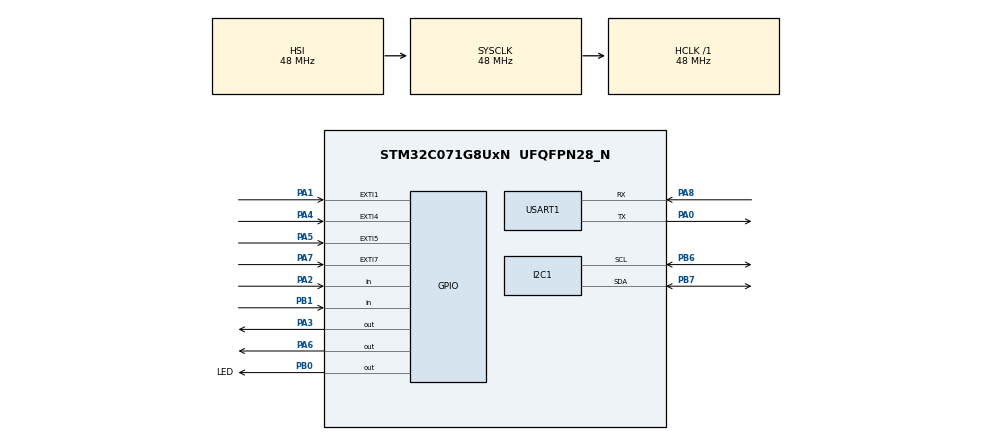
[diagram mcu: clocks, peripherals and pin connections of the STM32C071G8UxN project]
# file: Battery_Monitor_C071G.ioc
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Dma.Request0=USART1_RX
Dma.USART1_RX.0.Direction=DMA_PERIPH_TO_MEMORY
Dma.USART1_RX.0.EventEnable=DISABLE
Dma.USART1_RX.0.Instance=DMA1_Channel1
Dma.USART1_RX.0.MemDataAlignment=DMA_MDATAALIGN_BYTE
Dma.USART1_RX.0.MemInc=DMA_MINC_ENABLE
Dma.USART1_RX.0.Mode=DMA_NORMAL
Dma.USART1_RX.0.PeriphDataAlignment=DMA_PDATAALIGN_BYTE
Dma.USART1_RX.0.PeriphInc=DMA_PINC_DISABLE
Dma.USART1_RX.0.Polarity=HAL_DMAMUX_REQ_GEN_RISING
Dma.USART1_RX.0.Priority=DMA_PRIORITY_LOW
Dma.USART1_RX.0.RequestNumber=1
Dma.USART1_RX.0.SignalID=NONE
Dma.USART1_RX.0.SyncEnable=DISABLE
Dma.USART1_RX.0.SyncPolarity=HAL_DMAMUX_SYNC_NO_EVENT
Dma.USART1_RX.0.SyncRequestNumber=1
Dma.USART1_RX.0.SyncSignalID=NONE
I2C1.Timing=0x10805D88
Mcu.Family=STM32C0
Mcu.Name=STM32C071G8UxN
Mcu.Package=UFQFPN28_N
NVIC.DMA1_Channel1_IRQn=true\:0\:0\:false\:false\:true\:false\:true\:true
NVIC.EXTI0_1_IRQn=true\:0\:0\:false\:false\:true\:true\:true\:true
NVIC.EXTI4_15_IRQn=true\:0\:0\:false\:false\:true\:true\:true\:true
NVIC.USART1_IRQn=true\:0\:0\:false\:false\:true\:true\:true\:true
PA0.Mode=Asynchronous
PA0.Signal=USART1_TX
PA1.Signal=GPXTI1
PA13.Mode=Serial_Wire
PA13.Signal=DEBUG_SWDIO
PA14-BOOT0.Mode=Serial_Wire
PA14-BOOT0.Signal=DEBUG_SWCLK
PA2.Signal=GPIO_Input
PA3.Signal=GPIO_Output
PA4.Signal=GPXTI4
PA5.Signal=GPXTI5
PA6.Signal=GPIO_Output
PA7.Signal=GPXTI7
PA8.Mode=Asynchronous
PA8.Signal=USART1_RX
PB0.GPIO_Label=LED
PB0.Signal=GPIO_Output
PB1.Signal=GPIO_Input
PB6.Mode=I2C
PB6.Signal=I2C1_SCL
PB7.Mode=I2C
PB7.Signal=I2C1_SDA
ProjectManager.HeapSize=0x200
ProjectManager.StackSize=0x400
ProjectManager.TargetToolchain=CMake
RCC.ADCFreq_Value=48000000
RCC.AHBFreq_Value=48000000
RCC.CortexFreq_Value=48000000
RCC.EXTERNAL_CLOCK_VALUE=12288000
RCC.HCLKFreq_Value=48000000
RCC.HSE_VALUE=8000000
RCC.HSI48_VALUE=48000000
RCC.HSISYSCLKDivider=RCC_HSI_DIV1
RCC.HSI_VALUE=48000000
RCC.LSE_VALUE=32768
RCC.SYSCLKFreq_VALUE=48000000
USART1.VirtualMode-Asynchronous=VM_ASYNC
board=custom

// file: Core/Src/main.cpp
/* USER CODE BEGIN Header */
/**
 ******************************************************************************
 * @file           : main.c
 * @brief          : Main program body
 ******************************************************************************
 * @attention
 *
 * Copyright (c) 2026 STMicroelectronics.
 * All rights reserved.
 *
 * This software is licensed under terms that can be found in the LICENSE file
 * in the root directory of this software component.
 * If no LICENSE file comes with this software, it is provided AS-IS.
 *
 ******************************************************************************
 */
/* USER CODE END Header */
#include "main.h"
#include "dma.h"
#include "gpio.h"
#include "i2c.h"
#include "usart.h"

/* USER CODE BEGIN Includes */
#include "Battery_Link.h"
#include "Hardware_config.h"
#include "INA232.h"
#include "ssd1306.h"
#include "DialogBold10.h"
#include "stm32fxxx.h"
#include <BQ25883.h>

/* USER CODE END Includes */

/* USER CODE BEGIN PTD */
// I2C_HandleTypeDef hi2c1;
void update_button_states(void);
void readBatteryStatus(void);
bool estimateSystemLoadCurrent(float *currentAmps);
static void formatFloat2(float value, char *buf, size_t bufSize);
void serviceWatchdog(void);
void checkChargeFaults(void);
void checkBatteryStatPin(void);
bool configureCharger(void);
void softStartOutput(void);
void checkInputCurrentFaults(void);
void readStatFields(void);
void drawPrimaryScreen(void);
void drawPoweringOnScreen(void);
void drawPoweringDownScreen(void);
void outputInitOff(void);

#ifdef SERIAL_DEBUG
void printFirstFiveRegs(void);
void printAllFields(void);
void printBatteryStatus(void);
#endif
/* USER CODE END PTD */

#define SYSTEM_OHM 0.005f // 5mOhm shunt resistor for system current
#define CURRENT_MAX 16.0f // maximum expected current in Amps for calibration

/* USER CODE BEGIN PD */
// HardwareSerial Serial(&huart1);
BQ25883 charger = BQ25883();
STM32_SSD1306 display;
Battery_Link batteryLink;
INA232 ina232 = INA232();

/* USER CODE END PD */

/* USER CODE BEGIN PV */
bool battery_int_state = false;
bool left_button_state, middle_button_state, right_button_state = false;
bool previous_left_button_state, previous_middle_button_state, previous_right_button_state = false;
bool battery_pwr_good_state = false;
// Output power-on: soft start only runs after the middle button is held.
#define POWER_ON_HOLD_MS 2000UL
#define POWER_OFF_LOCKOUT_MS 5000UL // no power-off until this long after power-on
bool outputPowered = false;
uint32_t outputPowerOnTick = 0;
uint32_t middleHoldStartTick = 0;
bool middleHolding = false;
bool middleNeedRelease = false; // ignore the button until it is released
// uint8_t rxData[UART_BUFFER_SIZE];

// global variables for first five regsiters
float cellVoltageLimit = 0.0;

float chargeCurrentLimit = 0.0;
bool hizMode = true;
bool iLimPin = false;

float inputVoltageLimit = 0.0;
bool vInDpmRst = false;
bool batDischg = true;
bool pfmOoa = true;

float inputCurrentLimit = 0.0;
bool forceIco = true;
bool forceIndet = true;
bool enIco = false;

float prechargeCurrentLimit = 0.0;
float terminationCurrentLimit = 0.0;

float batteryVoltage = 0.0;
float batteryCurrent = 0.0;
bool ina232Ok = false;
float sysVoltage = 0.0; // V, from INA232
float sysCurrent = 0.0; // A, from INA232
float sysPower = 0.0;   // W, from INA232
float ext1Voltage = 0.0;
float ext2Voltage = 0.0;
float ext1Current = 0.0;
float ext2Current = 0.0;
uint32_t lastBatteryReadTick = 0;

bool chargeFaultActive = false;
// Set when the charge safety timer expires. Charging stays disabled until the
// input source is removed (PG drops), so the timer can't be defeated by
// toggling EN_CHG (which restarts it).
bool chargeTimerFaultLatched = false;
bool inputCurrentIssueActive = false;
bool displayExtPower = true;
/* USER CODE END PV */

/* USER CODE BEGIN PM */
#ifdef __cplusplus
extern "C" {
#endif

// int _write(int file, char *ptr, int len)
// {
//   HAL_UART_Transmit(&huart1, (uint8_t*)ptr, len, HAL_MAX_DELAY);
//   // HAL_UART_Transmit_IT(&huart1, (uint8_t*)ptr, len);
//   return len;
// }

// void HAL_GPIO_EXTI_Callback(uint16_t GPIO_Pin)
// {
// 	if(GPIO_Pin == battery_int_pin)
// 	{
// 		battery_int_state = HAL_GPIO_ReadPin(battery_int);
// 	}
// }

#ifdef __cplusplus
}
#endif
/* USER CODE END PM */

void SystemClock_Config(void);

/* USER CODE BEGIN 0 */

// uint8_T TxData[50];
/* USER CODE END 0 */

int main(void) {

  /* MCU Configuration--------------------------------------------------------*/

  /* Reset of all peripherals, Initializes the Flash interface and the Systick.
   */
  HAL_Init();

  /* Configure the system clock */
  SystemClock_Config();

  /* USER CODE BEGIN SysInit */
  HAL_Delay(100);
  /* USER CODE END SysInit */

  /* Initialize all configured peripherals */
  MX_GPIO_Init();
  MX_DMA_Init();
  MX_I2C1_Init();
  MX_USART1_UART_Init();
  // /* USER CODE BEGIN 2 */
  Board_GPIO_WritePin(battery_cEnable, LOW);
  Serial.begin(BOARD_USART1);
#ifdef SERIAL_DEBUG
  Serial.println("Hello World!");
#endif

#ifdef ENABLE_OLED
  display.SSD1306_begin(BOARD_I2C1, SSD1306_I2C_ADDR);
  display.SSD1306_setFont(&Dialog_bold_10);
  display.SSD1306_setFontSize(1);
#endif

  if (charger.begin(BOARD_I2C1)) {
#ifdef SERIAL_DEBUG
    Serial.println(F("BQ25883 is working..."));
#endif
    // First I2C write moves the charger from default mode to host mode.
    bool cfgOk = configureCharger();
#ifdef SERIAL_DEBUG
    Serial.println(cfgOk ? F("BQ25883 configured, readback OK")
                         : F("!!! BQ25883 config readback MISMATCH !!!"));
#else
    (void)cfgOk;
#endif
    charger.readCellVoltageLimitReg(); // cache VREG so getCellVoltageLimit()
                                       // reflects the actual charger setting,
                                       // not a zeroed default
  } else {
// If BQ25883 is not working, blink the LED to indicate an error
#ifdef SERIAL_DEBUG
    Serial.println(F("BQ25883 is NOT working.  Check your wires..."));
#endif
    while (1) {
      Board_GPIO_TogglePin(user_led);
      HAL_Delay(500);
    }
  }

  // INA232 on the pack/system shunt: 5mOhm * 16A = 80mV, inside the default
  // +/-81.92mV ADC range, so no ADCRANGE change is needed.
  ina232Ok = ina232.begin(BOARD_I2C1) && ina232.setCalibration(SYSTEM_OHM, CURRENT_MAX);
#ifdef SERIAL_DEBUG
  Serial.println(ina232Ok ? F("INA232 is working...")
                          : F("INA232 is NOT working.  Check your wires..."));
#endif

#ifdef ENABLE_OLED
  drawPrimaryScreen();
#endif

  // Everything is configured. The output stays off until the middle button is
  // held for POWER_ON_HOLD_MS, then it is brought up gradually (soft start).
  outputInitOff();

  /* USER CODE END 2 */

  /* Infinite loop */
  /* USER CODE BEGIN WHILE */
  while (1) {

    // Service the Primary Controller link: answer REQUEST_VOLTAGE frames and
    // latch any SEND_CURRENT_POWER rail data pushed from the Primary.
    batteryLink.poll();

    if (batteryLink.has_current_power()) {
      const Battery_Link::RailReadings &r = batteryLink.rails();
      ext1Voltage = r.sysBus_mV / 1000.0f;
      ext1Current = r.sysCurrent_mA / 1000.0f;
      ext2Voltage = r.motorBus_mV / 1000.0f;
      ext2Current = r.motorCurrent_mA / 1000.0f;
    }

    update_button_states();

    // Hold the middle button to power the output on, or (once it has been on
    // for at least POWER_OFF_LOCKOUT_MS) to power it off.
    {
      const uint32_t now = HAL_GetTick();
      if (Board_GPIO_ReadPin(button_middle)) { // released
        middleHolding = false;
        middleNeedRelease = false;
      } else if (!middleNeedRelease) { // pressed
        if (!middleHolding) {
          middleHolding = true;
          middleHoldStartTick = now;
        } else if (now - middleHoldStartTick >= POWER_ON_HOLD_MS) {
          if (!outputPowered) {
#ifdef ENABLE_OLED
            drawPoweringOnScreen();
#endif
            Board_GPIO_WritePin(user_led, HIGH);
            softStartOutput();
            outputPowered = true;
            outputPowerOnTick = HAL_GetTick();
            middleHolding = false;
            middleNeedRelease = true; // this hold must not count as power-off
            lastBatteryReadTick = 0;  // refresh readings right away
#ifdef ENABLE_OLED
            drawPrimaryScreen();
#endif
          } else if (now - outputPowerOnTick >= POWER_OFF_LOCKOUT_MS) {
#ifdef ENABLE_OLED
            drawPoweringDownScreen();
#endif
            Board_GPIO_WritePin(pwr_activation, LOW);
            Board_GPIO_WritePin(user_led, LOW);
#ifdef ENABLE_OLED
            HAL_Delay(1000); // leave the message visible briefly
#endif
            outputPowered = false;
            middleHolding = false;
            middleNeedRelease = true;
            lastBatteryReadTick = 0;
#ifdef ENABLE_OLED
            drawPrimaryScreen();
#endif
          }
          // else: within the lockout, keep waiting while held
        }
      }
    }

    if (HAL_GetTick() - lastBatteryReadTick >= 1000) {
      lastBatteryReadTick = HAL_GetTick();
      if (!outputPowered)
        HAL_GPIO_TogglePin(user_led); // standby heartbeat; solid on once powered
      serviceWatchdog();
      checkChargeFaults();
      checkInputCurrentFaults();
      readBatteryStatus();
// printBatteryStatus();
#ifdef ENABLE_OLED
      drawPrimaryScreen();
#endif

    }

    // Sampled every pass (not on the 1 s tick) so the 1 Hz fault blink is seen.
    checkBatteryStatPin();
  }
}

void SystemClock_Config(void) {
  RCC_OscInitTypeDef RCC_OscInitStruct = {0};
  RCC_ClkInitTypeDef RCC_ClkInitStruct = {0};

  __HAL_FLASH_SET_LATENCY(FLASH_LATENCY_1);

  /** Initializes the RCC Oscillators according to the specified parameters
   * in the RCC_OscInitTypeDef structure.
   */
  RCC_OscInitStruct.OscillatorType = RCC_OSCILLATORTYPE_HSI;
  RCC_OscInitStruct.HSIState = RCC_HSI_ON;
  RCC_OscInitStruct.HSIDiv = RCC_HSI_DIV1;
  RCC_OscInitStruct.HSICalibrationValue = RCC_HSICALIBRATION_DEFAULT;
  if (HAL_RCC_OscConfig(&RCC_OscInitStruct) != HAL_OK) {
    Error_Handler();
  }

  /** Initializes the CPU, AHB and APB buses clocks
   */
  RCC_ClkInitStruct.ClockType =
      RCC_CLOCKTYPE_HCLK | RCC_CLOCKTYPE_SYSCLK | RCC_CLOCKTYPE_PCLK1;
  RCC_ClkInitStruct.SYSCLKSource = RCC_SYSCLKSOURCE_HSI;
  RCC_ClkInitStruct.SYSCLKDivider = RCC_SYSCLK_DIV1;
  RCC_ClkInitStruct.AHBCLKDivider = RCC_HCLK_DIV1;
  RCC_ClkInitStruct.APB1CLKDivider = RCC_APB1_DIV1;

  if (HAL_RCC_ClockConfig(&RCC_ClkInitStruct, FLASH_LATENCY_1) != HAL_OK) {
    Error_Handler();
  }
}

void Error_Handler(void) {
  __disable_irq();
  while (1) {
  }
}
#ifdef USE_FULL_ASSERT
/**
 * @brief  Reports the name of the source file and the source line number
 *         where the assert_param error has occurred.
 * @param  file: pointer to the source file name
 * @param  line: assert_param error line source number
 * @retval None
 */
void assert_failed(uint8_t *file, uint32_t line) {
  /* USER CODE BEGIN 6 */
  /* User can add his own implementation to report the file name and line
     number, ex: printf("Wrong parameters value: file %s on line %d\r\n", file,
     line) */
  /* USER CODE END 6 */
}
#endif /* USE_FULL_ASSERT */

void update_button_states(void) {
  bool left_but_temp = !Board_GPIO_ReadPin(button_left);
  bool middle_but_temp = !Board_GPIO_ReadPin(button_middle);
  bool right_but_temp = !Board_GPIO_ReadPin(button_right);
  // battery_pwr_good_state = Board_GPIO_ReadPin(pwr_button_read);

  // Left Debounce
  if (left_but_temp) {
    if (!previous_left_button_state) {
      left_button_state = true;
      previous_left_button_state = left_button_state;
      Serial.println("Left Button Pressed");
    } else
      left_button_state = false;
  } else if (previous_left_button_state && !left_button_state) {
    previous_left_button_state = left_button_state;
  } else if (previous_left_button_state && left_button_state)
    left_button_state = false;

  // Middle Debounce
  if (middle_but_temp) {
    if (!previous_middle_button_state) {
      middle_button_state = true;
      previous_middle_button_state = middle_button_state;
      Serial.println("Middle Button Pressed");
    } else
      middle_button_state = false;
  } else if (previous_middle_button_state && !middle_button_state) {
    previous_middle_button_state = middle_button_state;
  } else if (previous_middle_button_state && middle_button_state)
    middle_button_state = false;

  // Right Debounce
  if (right_but_temp) {
    if (!previous_right_button_state) {
      right_button_state = true;
      previous_right_button_state = right_button_state;
      Serial.println("Right Button Pressed");
    } else
      right_button_state = false;
  } else if (previous_right_button_state && !right_button_state) {
    previous_right_button_state = right_button_state;
  } else if (previous_right_button_state && right_button_state)
    right_button_state = false;
}

void readBatteryStatus() {
  if (ina232Ok) {
    sysVoltage = ina232.readBusVoltage_mV() / 1000.0f;
    sysCurrent = ina232.readCurrent_mA() / 1000.0f;
    sysPower = ina232.readPower_mW() / 1000.0f;
    batteryVoltage = sysVoltage;
  } else {
    // INA232 missing - fall back to the BQ25883 ADC so the display still works.
    charger.readADCVbatReg();
    batteryVoltage = charger.getADC_VBAT();
  }

  // Cache the pack voltage (mV) the link hands back on REQUEST_VOLTAGE.
  batteryLink.set_battery_voltage_mV(
      (uint16_t)(batteryVoltage * 1000.0f + 0.5f));

  // charger.readADCIbusReg();
  // batteryCurrent = charger.getADC_IBUS();
}

void printBatteryStatus() {
  Serial.print(F("Charge Voltage: "));
  Serial.print(charger.readADCVbusReg());
  Serial.println(F(" mV"));
  Serial.print(F("Charge Current: "));
  Serial.print(charger.readADCIbusReg());
  Serial.println(F(" mA"));
}

// Formats to 2 decimal places using integer math only - this MCU's nano.specs
// libc has no float printf support, so "%f" would silently print nothing.
static void formatFloat2(float value, char *buf, size_t bufSize) {
  bool negative = value < 0.0f;
  if (negative)
    value = -value;
  value += 0.005f;

  unsigned long wholePart = (unsigned long)value;
  unsigned int fracPart = (unsigned int)((value - (float)wholePart) * 100.0f);

  snprintf(buf, bufSize, "%s%lu.%02u", negative ? "-" : "", wholePart,
           fracPart);
}

void serviceWatchdog() {
  // WD_RST must be re-written before the 40s watchdog window (REG05) expires,
  // otherwise the IC returns to default mode and resets VREG, ICHG, the timer
  // settings, AUTO_INDET_EN, JEITA and ADC_EN to their power-on values.
  // Read WD_STAT *before* kicking, so an expiry is seen on this pass.
  charger.readChargeStatusReg();
  if (charger.getWD_STAT()) {
#ifdef SERIAL_DEBUG
    Serial.println(F("!!! WATCHDOG EXPIRED - charger settings reverted to "
                     "defaults, re-applying config !!!"));
#endif
    configureCharger(); // the write itself returns the chip to host mode
  } else {
    charger.wdReset();
  }
}

// The BQ25883 has no TS-ignore bit (checked datasheet SLUSDL3A, REG08/0D/etc.),
// so the closest firmware option is to make the JEITA "warm" (45-60C) and
// "cool" (0-10C) windows behave like normal charging. Charging still suspends
// when TS reads Cold (<0C) or Hot (>60C), including a floating/open TS pin.
// This board has a real NTC (TH1 10k, divider R5 5.23k / R6 30.1k per the
// datasheet-recommended design), so the chip's default JEITA protection is
// correct and this override is OFF. Set to 1 only to ignore warm/cool limits.
#define ALLOW_CHARGE_ON_NTC_WARM_COOL 0
// ---------------------------------------------------------------------------
// Output soft start.
// The output switch is Q1 (SUD50P08-25L, P-channel) between SYS_BATT and
// SYS_OUT, pulled on by Q2 (2N7002K) from SYS_OUT_EN = PA15 (pwr_activation).
// High = output on. Slamming it on charges the robot's bulk capacitance with
// a large inrush spike, so instead PWM the enable pin with a duty cycle that
// ramps 0 -> 100% over SOFTSTART_RAMP_MS, then hold it high.
//
// Software PWM is used so no timer / CubeMX changes are needed; the call
// blocks for SOFTSTART_RAMP_MS (the Primary link and charger watchdog are not
// serviced meanwhile - fine for <1 s, the watchdog window is 40 s).
// ---------------------------------------------------------------------------
#define SOFTSTART_RAMP_MS   400UL  // total ramp time
#define SOFTSTART_PERIOD_US 200UL  // PWM period (5 kHz)

static uint32_t micros32(void) {
  uint32_t ms, ticks;
  do {
    ms = HAL_GetTick();
    ticks = SysTick->LOAD - SysTick->VAL; // counts up within the current ms
  } while (ms != HAL_GetTick());
  return ms * 1000UL + ticks / (SystemCoreClock / 1000000UL);
}

static void delayUntilUs(uint32_t target) {
  while ((int32_t)(micros32() - target) < 0) {
  }
}

// Drive SYS_OUT_EN low as a push-pull output (output off).
void outputInitOff(void) {
  GPIO_InitTypeDef gpio = {0};
  gpio.Pin = GPIO_PIN_15;
  gpio.Mode = GPIO_MODE_OUTPUT_PP;
  gpio.Pull = GPIO_NOPULL;
  gpio.Speed = GPIO_SPEED_FREQ_LOW;
  Board_GPIO_WritePin(pwr_activation, LOW);
  HAL_GPIO_Init(GPIOA, &gpio);
}

void softStartOutput(void) {
  outputInitOff();

  const uint32_t rampUs = SOFTSTART_RAMP_MS * 1000UL;
  const uint32_t startUs = micros32();
  uint32_t elapsedUs;

  while ((elapsedUs = micros32() - startUs) < rampUs) {
    const uint32_t onUs = (SOFTSTART_PERIOD_US * elapsedUs) / rampUs;
    const uint32_t periodStart = micros32();
    if (onUs > 0) {
      Board_GPIO_WritePin(pwr_activation, HIGH);
      delayUntilUs(periodStart + onUs);
    }
    Board_GPIO_WritePin(pwr_activation, LOW);
    delayUntilUs(periodStart + SOFTSTART_PERIOD_US);
  }

  Board_GPIO_WritePin(pwr_activation, HIGH); // fully on
#ifdef SERIAL_DEBUG
  Serial.println(F("Output soft start complete"));
#endif
}

// ---------------------------------------------------------------------------
// BQ25883 host-mode configuration (datasheet SLUSDL3A, section 8.5).
// 2S pack: VREG / SYS_MIN / BATLOWV are pack voltages, not per-cell.
// Written as whole registers at startup and after any watchdog expiry.
// ---------------------------------------------------------------------------
// REG00: VREG = 6.8 V + 10 mV/LSB -> 0xA0 = 8.40 V (4.20 V/cell)
#define BQ_REG00_VREG       0xA0
// REG01: EN_HIZ=0, EN_ILIM=1 (R8 500 ohm, ~2.2 A backstop), ICHG=10*50mA=0.5 A
#define BQ_REG01_ICHG       0x4A
// REG02: EN_VINDPM_RST=1, EN_BAT_DISCHG=0, PFM_OOA_DIS=0, VINDPM=3.9+0.4=4.3 V
#define BQ_REG02_VINDPM     0x84
// REG03: FORCE_ICO=0, FORCE_INDET=0, EN_ICO=0, IINDPM=0.5 A (board input limit)
#define BQ_REG03_IINDPM     0x00
// REG04: IPRECHG=150 mA, ITERM=150 mA (50 mA + 50 mA/LSB each)
#define BQ_REG04_PRE_TERM   0x22
// REG05: EN_TERM=1, STAT_DIS=0, WATCHDOG=40 s, EN_TIMER=1, CHG_TIMER=12 h,
//        TMR2X_EN=1
#define BQ_REG05_CTRL1      0x9D
// REG06: EN_OTG=0, AUTO_INDET_EN=0 (D+/D- detection would overwrite IINDPM on
//        every plug-in), TREG=120 C, EN_CHG (bit 3, set at runtime),
//        BATLOWV=6.0 V, VRECHG=200 mV below VREG
#define BQ_REG06_CTRL2      0x35
#define BQ_REG06_EN_CHG     0x08
// REG07: PFM enabled, WD_RST=0 (self-clearing), TOPOFF off, SYS_MIN=6.2 V
#define BQ_REG07_CTRL3      0x02
// REG08: BHOT/BCOLD defaults (OTG only); JEITA warm/cool settings
#if ALLOW_CHARGE_ON_NTC_WARM_COOL
#define BQ_REG08_CTRL4      0x1F  // warm: VREG unchanged, 100% ICHG; cool: 100% ICHG
#else
#define BQ_REG08_CTRL4      0x0D  // warm: VREG 8.0 V, 100% ICHG; cool: 20% ICHG
#endif
// REG12: mask ADC_DONE, IINDPM, VINDPM (always input-limited at 0.5 A, would
//        spam INT); keep TREG, WD, CHRG interrupts
#define BQ_REG12_MASK1      0xE0
// REG13: mask ICO (disabled); keep PG, VBUS, TS, VSYS interrupts
#define BQ_REG13_MASK2      0x02
// REG14: all fault interrupts enabled (VBUS_OVP, TSHUT, BATOVP, TMR, SYS_SHORT)
#define BQ_REG14_FMASK      0x00
// REG15: ADC_EN=1, continuous conversion, ADC_SAMPLE=11 (default speed)
#define BQ_REG15_ADC        0xB0
// REG16: all ADC channels enabled (bit 1 is reserved and reads 1)
#define BQ_REG16_ADC_DIS    0x02

bool configureCharger() {
  const uint8_t reg06 =
      BQ_REG06_CTRL2 | (chargeTimerFaultLatched ? 0 : BQ_REG06_EN_CHG);

  struct RegCfg {
    uint8_t reg;
    uint8_t value;
    uint8_t verifyMask; // bits compared on readback
  };
  const RegCfg cfg[] = {
      {BQ25883_REG_VOLTAGE_LIMIT, BQ_REG00_VREG, 0xFF},
      {BQ25883_REG_CHARGE_CURRENT_LIMIT, BQ_REG01_ICHG, 0xFF},
      {BQ25883_REG_INPUT_VOLTAGE_LIMIT, BQ_REG02_VINDPM, 0xFF},
      {BQ25883_REG_INPUT_CURRENT_LIMIT, BQ_REG03_IINDPM, 0x3F},
      {BQ25883_REG_PRE_TERM_CURRENT_LIMIT, BQ_REG04_PRE_TERM, 0xFF},
      {BQ25883_REG_CHARGER_CONTROL_1, BQ_REG05_CTRL1, 0xFF},
      {BQ25883_REG_CHARGER_CONTROL_2, reg06, 0xFF},
      {BQ25883_REG_CHARGER_CONTROL_3, BQ_REG07_CTRL3, 0xBF},
      {BQ25883_REG_CHARGER_CONTROL_4, BQ_REG08_CTRL4, 0xFF},
      {BQ25883_REG_CHARGER_MASK_1, BQ_REG12_MASK1, 0xF9},
      {BQ25883_REG_CHARGER_MASK_2, BQ_REG13_MASK2, 0x97},
      {BQ25883_REG_FAULT_MASK, BQ_REG14_FMASK, 0xF9},
      {BQ25883_REG_ADC_CONTROL, BQ_REG15_ADC, 0xF0},
      {BQ25883_REG_ADC_FUNCTION_DISABLE, BQ_REG16_ADC_DIS, 0xFD},
  };

  for (const RegCfg &c : cfg)
    charger.writeRegister(c.reg, c.value);

  bool ok = true;
  for (const RegCfg &c : cfg) {
    const uint8_t got = charger.readRegister(c.reg);
    if ((got ^ c.value) & c.verifyMask) {
      ok = false;
#ifdef SERIAL_DEBUG
      char line[48];
      snprintf(line, sizeof(line), "  BQ reg 0x%02X wrote 0x%02X read 0x%02X",
               c.reg, c.value, got);
      Serial.println(line);
#endif
    }
  }
  return ok;
}

void checkChargeFaults() {
  charger.readFaultStatusReg();
  charger.readChargeStatusReg();

  const bool vbusOvp = charger.getVBUS_OVP_STAT();
  const bool tshut = charger.getTSHUT_STAT();
  const bool batOvp = charger.getBATOVP_STAT();
  const bool tmrFault = charger.getTMR_STAT();
  const bool powerGood = charger.getPG_STAT();

  // Safety timer: latch charging off. Toggling EN_CHG restarts the timer, so
  // only re-enable once the input source has been removed (new charge session).
  if (tmrFault && !chargeTimerFaultLatched) {
    chargeTimerFaultLatched = true;
    charger.setEN_CHG(false);
#ifdef SERIAL_DEBUG
    Serial.println(F("!!! SAFETY TIMER EXPIRED - charging latched off until "
                     "input is unplugged !!!"));
#endif
  } else if (chargeTimerFaultLatched && !powerGood) {
    chargeTimerFaultLatched = false;
    charger.setEN_CHG(true);
#ifdef SERIAL_DEBUG
    Serial.println(F("Input removed - safety timer latch cleared"));
#endif
  }

  // VBUS_OVP, TSHUT and BATOVP are handled by the charger itself (it stops
  // switching / charging and resumes when the condition clears). Report them
  // only - toggling EN_CHG here would needlessly restart the safety timer.
  const bool newFault = vbusOvp || tshut || batOvp || chargeTimerFaultLatched;

  if (newFault && !chargeFaultActive) {
    chargeFaultActive = true;
#ifdef SERIAL_DEBUG
    Serial.println(F("!!! CHARGE FAULT DETECTED !!!"));
    if (vbusOvp)
      Serial.println(F("  - VBUS Overvoltage"));
    if (tshut)
      Serial.println(F("  - Thermal Shutdown"));
    if (batOvp)
      Serial.println(F("  - Battery Overvoltage"));
    if (chargeTimerFaultLatched)
      Serial.println(F("  - Safety Timer Expired"));
#endif
  } else if (!newFault && chargeFaultActive) {
    chargeFaultActive = false;
#ifdef SERIAL_DEBUG
    Serial.println(F("Charge fault cleared"));
#endif
  }
}

// Decodes the BQ25883 STAT pin (open-drain):
//   low            -> charging
//   1 Hz blinking  -> fault (fault registers are read and printed)
//   high           -> not charging (done / disabled / no source)
// Call every main-loop pass; the blink is detected from edge spacing.
void checkBatteryStatPin() {
  enum StatState { STAT_UNKNOWN, STAT_CHARGING, STAT_IDLE, STAT_FAULT };
  static StatState state = STAT_UNKNOWN;
  static bool lastLevel = false;
  static bool levelInit = false;
  static uint32_t lastEdgeTick = 0;
  static uint8_t quickEdges = 0;     // consecutive edges < 800 ms apart
  static uint32_t lastFaultReport = 0;

  const uint32_t now = HAL_GetTick();
  const bool level = HAL_GPIO_ReadPin(battery_stat_pin) == GPIO_PIN_SET;

  // PG is open-drain, active low (R17 pull-up to +3.3V). With no good input
  // REGN is off, TS reads 0 V and the charger flags a TS fault and blinks
  // STAT even though nothing can charge. Treat that as plain "no input" and
  // restart blink detection once input returns.
  const bool inputGood = HAL_GPIO_ReadPin(power_good) == GPIO_PIN_RESET;
  if (!inputGood) {
    levelInit = false;
    quickEdges = 0;
    if (state != STAT_IDLE)
      Serial.println(F("Battery STAT: Not charging (no input power)"));
    state = STAT_IDLE;
    return;
  }

  if (!levelInit) {
    levelInit = true;
    lastLevel = level;
    lastEdgeTick = now;
  } else if (level != lastLevel) {
    lastLevel = level;
    quickEdges = (now - lastEdgeTick < 800) ? (uint8_t)(quickEdges + 1) : 1;
    lastEdgeTick = now;
  }

  StatState next;
  if (quickEdges >= 2 && now - lastEdgeTick < 1000) {
    next = STAT_FAULT;                       // still toggling -> blinking
  } else if (now - lastEdgeTick >= 1000) {
    quickEdges = 0;                          // steady level
    next = level ? STAT_IDLE : STAT_CHARGING;
  } else {
    return;                                  // single recent edge: undecided yet
  }

  const bool entering = (next != state);
  state = next;

  switch (state) {
  case STAT_CHARGING:
    if (entering)
      Serial.println(F("Battery STAT: Charging"));
    break;
  case STAT_IDLE:
    if (entering)
      Serial.println(F("Battery STAT: Not charging (done, disabled or no source)"));
    break;
  case STAT_FAULT:
    if (entering || now - lastFaultReport >= 5000) {
      lastFaultReport = now;
      charger.readFaultStatusReg();
      charger.readNtcStatusReg();
      charger.readChargeStatusReg();
      Serial.println(F("!!! Battery STAT: FAULT (pin blinking at 1 Hz) !!!"));
      Serial.println(charger.getVBUS_OVP_STAT() ? F("  - VBUS Overvoltage")
                                                : F("  - VBUS OVP: none"));
      Serial.println(charger.getTSHUT_STAT() ? F("  - Thermal Shutdown")
                                             : F("  - Thermal shutdown: none"));
      Serial.println(charger.getTMR_STAT() ? F("  - Safety Timer Expired")
                                           : F("  - Safety timer: ok"));
      Serial.println(charger.getBATOVP_STAT() ? F("  - Battery Overvoltage")
                                              : F("  - Battery OVP: none"));
      Serial.print(F("  - NTC status: "));
      switch (charger.getNTCStatus()) {
      case 0:  Serial.println(F("Normal")); break;
      case 2:  Serial.println(F("Warm"));   break;
      case 3:  Serial.println(F("Cool"));   break;
      case 5:  Serial.println(F("Cold"));   break;
      case 6:  Serial.println(F("Hot"));    break;
      default: Serial.println(F("Unknown")); break;
      }
      Serial.print(F("  - CHRG_STAT: "));
      Serial.println((int)charger.getCHRG_STAT());
    }
    break;
  default:
    break;
  }
}

// Diagnoses "VBUS reads voltage but IBUS reads no current" style symptoms.
// Call this only after checkChargeFaults() has run for this tick, since it
// reuses chargeFaultActive rather than re-reading the fault register.
void checkInputCurrentFaults() {
  // HIZ and the ILIM pin bit live in the Charge Current Limit register,
  // FORCE_ICO/FORCE_INDET/EN_ICO plus the IINDPM value live in the Input
  // Current Limit register, and EN_CHG lives in the Charger Control
  // Settings block -- none of these are kept fresh anywhere else in the
  // loop, so read them explicitly before checking their derived getters.
  // Without this, getEN_CHG() below would always read back the raw
  // register's zero-initialized cache (false/disabled) regardless of what
  // setEN_CHG() actually wrote to the chip.
  charger.readChargeCurrentLimitReg();
  charger.readInputCurrentLimitReg();
  charger.readChargeStatusReg();
  charger.readChargeControlSettingsReg();
  // NTC/TS protection can silently suspend charging independent of the
  // VBUS_OVP/TSHUT/TMR bits checkChargeFaults() watches, and VBAT is the
  // fastest way to tell "no battery attached" apart from a real fault -
  // both are only relevant to the unexplainedNotCharging case below, but
  // they're cheap single/double-byte reads so just keep them fresh here too.
  charger.readNtcStatusReg();
  charger.readADCVbatReg();

  bool hiz = charger.getHIZMode();
  bool chargeDisabled = !charger.getEN_CHG();
  uint8_t chrgStat = charger.getCHRG_STAT();
  // PG_STAT rather than VBUS_STAT: with AUTO_INDET_EN=0 the D+/D- detection
  // that fills in VBUS_STAT is bypassed, but PG still reports a good input.
  bool noSourceDetected = !charger.getPG_STAT();
  bool ilimPinMode = charger.getILIMPinFunction();
  float inputCurrentLimit = charger.getInputCurrentLimit();
  uint8_t ntcStatus = charger.getNTCStatus();
  float vbat = charger.getADC_VBAT();

  // Not charging despite a detected source, enabled charging, and no active
  // fault is the "everything looks configured right but current is still
  // zero" case -- usually points at no battery to sink current into, an
  // open BATFET/protection FET, or a TS/thermistor condition holding off
  // charging via JEITA/NTC protection.
  bool unexplainedNotCharging = (chrgStat == 0) && !noSourceDetected &&
                                !chargeDisabled && !hiz && !chargeFaultActive;

  bool newIssue = hiz || chargeDisabled || noSourceDetected ||
                  chargeFaultActive || unexplainedNotCharging;

  if (newIssue && !inputCurrentIssueActive) {
    inputCurrentIssueActive = true;
#ifdef SERIAL_DEBUG
    Serial.println(F("!!! NO INPUT CURRENT - possible causes: !!!"));
    if (hiz)
      Serial.println(F("  - HIZ mode is enabled, input is disconnected"));
    if (chargeDisabled)
      Serial.println(F("  - EN_CHG is disabled"));
    if (noSourceDetected)
      Serial.println(F("  - PG_STAT reports no good input source"));
    if (chargeFaultActive)
      Serial.println(F("  - Charge fault is active (see checkChargeFaults)"));
    Serial.print(F("  - Input current limit register is set to "));
    Serial.print(inputCurrentLimit);
    Serial.println(F(" A"));
    if (ilimPinMode) {
      Serial.println(F("  - ILIM pin also active (R8 500 ohm, ~2.2 A max)"));
    }
    if (unexplainedNotCharging) {
      Serial.print(F("  - Source detected, charging enabled, no fault, but "
                     "CHRG_STAT reports not charging: VBAT="));
      Serial.print(vbat);
      Serial.print(F("V, NTC_STATUS=0x"));
      Serial.println(ntcStatus, HEX);
      if (vbat < 1.0f) {
        Serial.println(
            F("    VBAT reads near 0V - check that a battery is actually "
              "connected and the BATFET/pack protection FET is closed"));
      }
      if (ntcStatus != 0) {
        Serial.println(F("    NTC_STATUS is nonzero - TS pin reports an "
                         "out-of-range/open/shorted thermistor condition "
                         "suspending charge"));
      }
    }
#endif
  } else if (!newIssue && inputCurrentIssueActive) {
    inputCurrentIssueActive = false;
#ifdef SERIAL_DEBUG
    Serial.println(F("Input current conditions look normal again"));
#endif
  }
}

void readStatFields() {
  charger.readChargeStatusReg();
  charger.readNtcStatusReg();
  charger.readFaultStatusReg();
  // charger.readCellBalStatReg();
}

/******************************************************/
/******************* OLED SCREENS *********************/
/******************************************************/
#ifdef ENABLE_OLED
void drawPoweringOnScreen() {
  display.SSD1306_Clear();
  display.SSD1306_setFontSize(1);
  display.SSD1306_GotoXY(20, 28);
  display.SSD1306_Puts("Powering On...", SSD1306_COLOR_WHITE, SSD1306_OPAQUE);
  display.SSD1306_UpdateScreen();
}

void drawPoweringDownScreen() {
  display.SSD1306_Clear();
  display.SSD1306_setFontSize(1);
  display.SSD1306_GotoXY(14, 28);
  display.SSD1306_Puts("Powering Down...", SSD1306_COLOR_WHITE, SSD1306_OPAQUE);
  display.SSD1306_UpdateScreen();
}

void drawPrimaryScreen() {
  // char title[] = "Battery Monitor";
  char percentageStr[5];
  char voltageStr[8];
  char currentStr[8];
  float ext1PowerCalc, ext2PowerCalc;

  char voltageExt1Str[8], voltageExt2Str[8];
  char currentExt1Str[8], currentExt2Str[8];
  char line[20];

  if (displayExtPower) {
    ext1PowerCalc = ext1Voltage * ext1Current;
    ext2PowerCalc = ext2Voltage * ext2Current;
  } else {
    ext1PowerCalc = ext1Current;
    ext2PowerCalc = ext2Current;
  }

  formatFloat2(batteryVoltage, voltageStr, sizeof(voltageStr));
  formatFloat2(ext1Voltage, voltageExt1Str, sizeof(voltageExt1Str));
  formatFloat2(ext2Voltage, voltageExt2Str, sizeof(voltageExt2Str));
  // formatFloat2(batteryCurrent, currentStr, sizeof(currentStr));
  formatFloat2(ext1PowerCalc, currentExt1Str, sizeof(currentExt1Str));
  formatFloat2(ext2PowerCalc, currentExt2Str, sizeof(currentExt2Str));

  // 2S pack: full-scale voltage is 2x the per-cell VREG limit programmed on the
  // charger
  float maxPackVoltage = 2.0f * charger.getCellVoltageLimit();
  int batteryPercent = 0;
  if (maxPackVoltage > 0.0f) {
    batteryPercent = (int)((batteryVoltage / maxPackVoltage) * 100.0f + 0.5f);
    if (batteryPercent < 0)
      batteryPercent = 0;
    else if (batteryPercent > 100)
      batteryPercent = 100;
  }
  snprintf(percentageStr, sizeof(percentageStr), "%d%%", batteryPercent);

  display.SSD1306_Clear();

  display.SSD1306_GotoXY(FIRST_COLUMN, TOP_ROW);
  // display.SSD1306_Puts(title, SSD1306_COLOR_WHITE, SSD1306_OPAQUE);
  // display.SSD1306_drawRoundRect(95, 0, 31, 15, 3, SSD1306_COLOR_WHITE);
  // display.SSD1306_DrawRectangle(126, 4, 2, 7, SSD1306_COLOR_WHITE);
  display.SSD1306_setFontSize(2);
  display.SSD1306_GotoXY(batteryPercent == 100 ? 0 : 8, 4);
  display.SSD1306_Puts(percentageStr, SSD1306_COLOR_WHITE, SSD1306_OPAQUE);

  display.SSD1306_setFontSize(1);
  snprintf(line, sizeof(line), "B: %sV", voltageStr);
  display.SSD1306_GotoXY(FIRST_COLUMN, 30);
  display.SSD1306_Puts(line, SSD1306_COLOR_WHITE, SSD1306_OPAQUE);

  formatFloat2(sysCurrent, currentStr, sizeof(currentStr));
  snprintf(line, sizeof(line), "I: %sA", currentStr);
  display.SSD1306_GotoXY(FIRST_COLUMN, 45);
  display.SSD1306_Puts(line, SSD1306_COLOR_WHITE, SSD1306_OPAQUE);

  /* External Voltages and Currents */
  snprintf(line, sizeof(line), "V1: %sV", voltageExt1Str);
  display.SSD1306_GotoXY(MIDDLE_COLUMN, TOP_ROW);
  display.SSD1306_Puts(line, SSD1306_COLOR_WHITE, SSD1306_OPAQUE);
  if (displayExtPower)
    snprintf(line, sizeof(line), "P1: %sW", currentExt1Str);
  else
    snprintf(line, sizeof(line), " I1: %sA", currentExt1Str);
  display.SSD1306_GotoXY(MIDDLE_COLUMN, TOP_ROW + 15);
  display.SSD1306_Puts(line, SSD1306_COLOR_WHITE, SSD1306_OPAQUE);

  snprintf(line, sizeof(line), "V2: %sV", voltageExt2Str);
  display.SSD1306_GotoXY(MIDDLE_COLUMN, TOP_ROW + 30);
  display.SSD1306_Puts(line, SSD1306_COLOR_WHITE, SSD1306_OPAQUE);
  if (displayExtPower)
    snprintf(line, sizeof(line), "P2: %sW", currentExt2Str);
  else
    snprintf(line, sizeof(line), " I2: %sA", currentExt2Str);
  display.SSD1306_GotoXY(MIDDLE_COLUMN, TOP_ROW + 45);
  display.SSD1306_Puts(line, SSD1306_COLOR_WHITE, SSD1306_OPAQUE);

  display.SSD1306_UpdateScreen();
}
#endif
